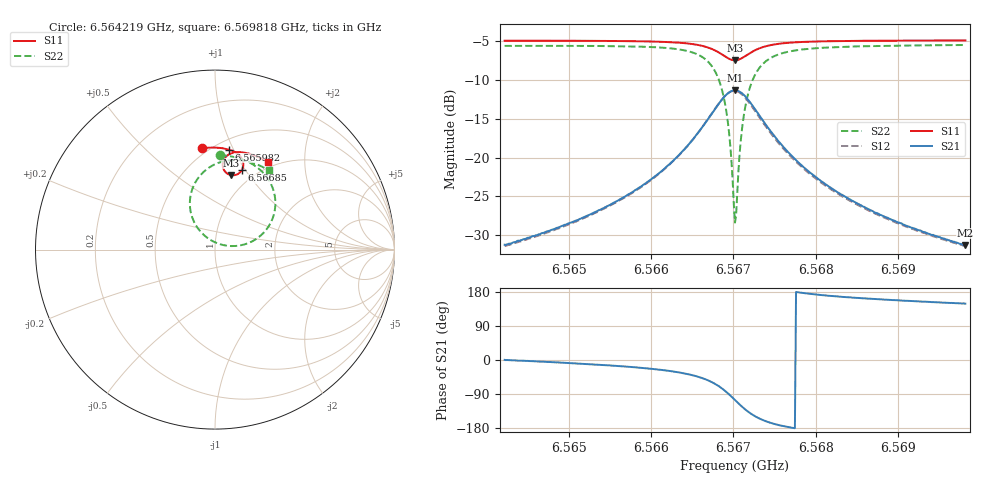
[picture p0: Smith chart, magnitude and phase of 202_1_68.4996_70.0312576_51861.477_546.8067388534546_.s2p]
#  HZ  S  RI  R  50.00
! Rohde & Schwarz Vector Network Analyzer
! Rohde-Schwarz,ZNB20-2Port,1311601062101988,3.16
! Created: UTC 3/20/2024, 4:57:39 PM
! freq[Hz]  re:S11  im:S11  re:S21  im:S21  re:S12  im:S12  re:S22  im:S22
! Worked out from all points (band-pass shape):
!   401 points, 6.564219 GHz to 6.569818 GHz, reference 50 ohm
!   highest |S21| = -11.31 dB at 6.567018 GHz (marker M1); lowest = -31.3 dB at 6.569818 GHz (marker M2)
!   |S21| within 3 dB of the highest: 6.566738 GHz to 6.567298 GHz (560.5 kHz wide, 0.00853 % of centre)
!   lowest |S11| = -7.4 dB at 6.567018 GHz (marker M3), VSWR 2.48, Z = 40.8 + j41.3 ohm
!   |S11| at or under -10 dB: nowhere
!   |S22| runs from -28.4 to -5.5 dB; largest |S21 - S12| = 0.013
!   S11 on the Smith chart (normalised r, x): 6.564219 GHz: 0.46, +0.77; 6.565982 GHz: 0.59, +0.96; 6.56685 GHz: 0.85, +0.96; 6.569818 GHz: 0.92, +1.33
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6.5642185e9  -0.0733 0.5645  0.0273 0.000146  0.0267 -0.000293  0.0267 0.5259
6.5651565e9  0.00312 0.568  0.04 -0.00699  0.0394 -0.00754  0.1142 0.514
6.5659825e9  0.079 0.5569  0.0658 -0.0275  0.0646 -0.0283  0.2177 0.4702
6.5660945e9  0.0905 0.5529  0.0715 -0.034  0.0705 -0.0349  0.2362 0.4575
6.5664025e9  0.1254 0.5343  0.0921 -0.0655  0.0906 -0.0667  0.2947 0.3951
6.5666125e9  0.1495 0.5066  0.1054 -0.1136  0.103 -0.1159  0.3326 0.3021
6.5667525e9  0.1579 0.4734  0.0984 -0.1716  0.0941 -0.1747  0.3269 0.1916
6.5668504e9  0.1494 0.4428  0.0665 -0.2242  0.0591 -0.2267  0.2701 0.0932
6.5668924e9  0.1395 0.4302  0.0409 -0.2449  0.0318 -0.2468  0.2233 0.0552
6.5669344e9  0.125 0.42  0.00733 -0.2606  -0.00324 -0.2606  0.1623 0.0284
6.5669624e9  0.1133 0.4157  -0.0182 -0.2663  -0.0297 -0.2645  0.1154 0.0202
6.5670044e9  0.0939 0.4144  -0.0598 -0.2651  -0.071 -0.2603  0.0422 0.0261
6.5670184e9  0.0875 0.4155  -0.0734 -0.2619  -0.0845 -0.2562  0.0183 0.0332
6.5670464e9  0.0753 0.4197  -0.0994 -0.2516  -0.1095 -0.244  -0.0262 0.0544
6.5670884e9  0.0597 0.4309  -0.1327 -0.2281  -0.1405 -0.2184  -0.0806 0.1002
6.5671304e9  0.0489 0.4455  -0.1563 -0.1983  -0.1615 -0.1877  -0.117 0.1553
6.5671864e9  0.0428 0.4663  -0.1728 -0.1568  -0.1748 -0.1462  -0.1386 0.2298
6.5672564e9  0.045 0.49  -0.1753 -0.1107  -0.1745 -0.1018  -0.1343 0.31
6.5675084e9  0.0832 0.533  -0.1329 -0.0247  -0.13 -0.0208  -0.0376 0.4538
6.5679564e9  0.1439 0.5428  -0.0776 0.00816  -0.0756 0.00939  0.0902 0.4986
6.5688944e9  0.2297 0.521  -0.0375 0.0146  -0.0366 0.0149  0.22 0.4796
6.5698184e9  0.2973 0.4875  -0.0232 0.0141  -0.0227 0.0142  0.2991 0.4419
